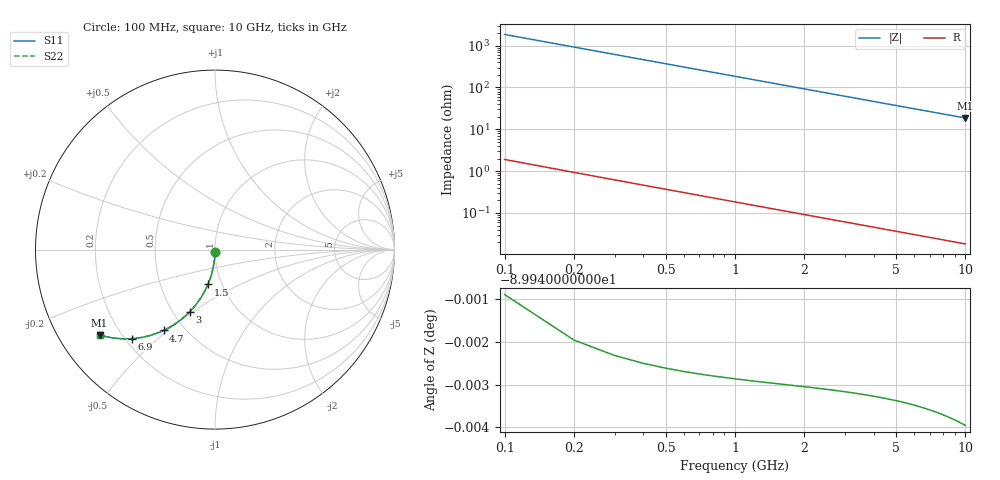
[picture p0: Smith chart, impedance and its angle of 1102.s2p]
# Hz S RI R 50.00
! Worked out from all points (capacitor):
!   100 points, 100 MHz to 10 GHz, reference 50 ohm
!   read as one part in shunt: C = 861 fF near 100 MHz
!   lowest |Z| = 18.7 ohm at 10 GHz (marker M1)
!   S11 on the Smith chart (normalised r, x): 100 MHz: 1.00, -0.03; 1.5 GHz: 0.86, -0.35; 3 GHz: 0.60, -0.49; 4.7 GHz: 0.38, -0.48; 6.9 GHz: 0.23, -0.42; 10 GHz: 0.12, -0.32
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1e8  -0.000182 -0.0135  0.9998 -0.0136  0.9998 -0.0136  -0.000182 -0.0135
2e8  -0.000744 -0.027  0.9992 -0.0271  0.9992 -0.0271  -0.000744 -0.027
3e8  -0.00167 -0.0404  0.9983 -0.0406  0.9983 -0.0406  -0.00167 -0.0404
4e8  -0.00296 -0.0538  0.997 -0.0541  0.997 -0.0541  -0.00296 -0.0538
5e8  -0.0046 -0.0671  0.9954 -0.0675  0.9954 -0.0675  -0.0046 -0.0671
6e8  -0.0066 -0.0804  0.9934 -0.0808  0.9934 -0.0808  -0.0066 -0.0804
7e8  -0.00896 -0.0936  0.991 -0.094  0.991 -0.094  -0.00896 -0.0936
9e8  -0.0147 -0.1196  0.9853 -0.1202  0.9853 -0.1202  -0.0147 -0.1196
1.2e9  -0.0258 -0.1576  0.9742 -0.1584  0.9742 -0.1584  -0.0258 -0.1576
1.5e9  -0.0396 -0.1942  0.9603 -0.1951  0.9603 -0.1951  -0.0396 -0.1942
1.8e9  -0.056 -0.229  0.9439 -0.2301  0.9439 -0.2301  -0.056 -0.229
2.4e9  -0.0953 -0.2924  0.9046 -0.2939  0.9046 -0.2939  -0.0953 -0.2924
3e9  -0.1412 -0.3468  0.8588 -0.3487  0.8588 -0.3487  -0.1412 -0.3468
3.4e9  -0.1742 -0.3777  0.8258 -0.3799  0.8258 -0.3799  -0.1742 -0.3777
4e9  -0.2258 -0.4163  0.7742 -0.4189  0.7742 -0.4189  -0.2258 -0.4163
4.7e9  -0.2867 -0.4502  0.7132 -0.4533  0.7132 -0.4533  -0.2867 -0.4502
5.1e9  -0.3211 -0.4648  0.6789 -0.468  0.6789 -0.468  -0.3211 -0.4648
5.9e9  -0.3872 -0.4847  0.6127 -0.4885  0.6127 -0.4885  -0.3872 -0.4847
6.7e9  -0.4487 -0.4947  0.5513 -0.499  0.5513 -0.499  -0.4487 -0.4947
6.9e9  -0.4632 -0.4959  0.5368 -0.5004  0.5368 -0.5004  -0.4632 -0.4959
8.4e9  -0.5605 -0.4931  0.4394 -0.4986  0.4394 -0.4986  -0.5605 -0.4931
1e10  -0.6433 -0.4752  0.3567 -0.4818  0.3567 -0.4818  -0.6433 -0.4752
